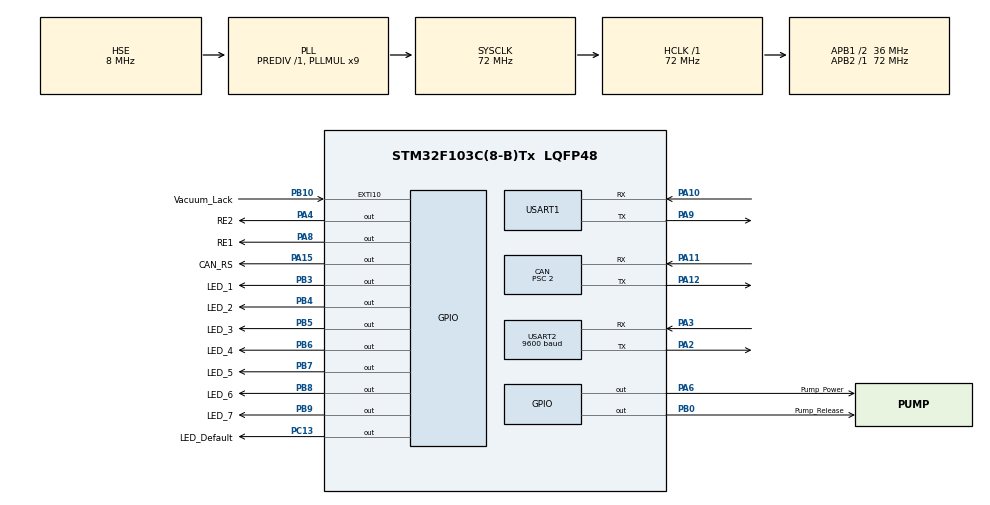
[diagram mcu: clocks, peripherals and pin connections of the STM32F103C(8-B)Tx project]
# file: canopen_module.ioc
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CAN.BS1=CAN_BS1_15TQ
CAN.BS2=CAN_BS2_2TQ
CAN.CalculateBaudRate=1000000
CAN.CalculateTimeBit=1000
CAN.CalculateTimeQuantum=55.55555555555556
CAN.NART=ENABLE
CAN.Prescaler=2
CAN.TXFP=ENABLE
IWDG.Prescaler=IWDG_PRESCALER_16
IWDG.Reload=2500-1
Mcu.Family=STM32F1
Mcu.Name=STM32F103C(8-B)Tx
Mcu.Package=LQFP48
NVIC.CAN1_RX1_IRQn=true\:0\:0\:false\:false\:true\:true\:true\:true
NVIC.CAN1_SCE_IRQn=true\:0\:0\:false\:false\:true\:true\:true\:true
NVIC.PriorityGroup=NVIC_PRIORITYGROUP_4
NVIC.TIM1_BRK_IRQn=true\:0\:0\:false\:false\:true\:true\:true\:true
NVIC.TIM1_CC_IRQn=true\:0\:0\:false\:false\:true\:true\:true\:true
NVIC.TIM1_TRG_COM_IRQn=true\:0\:0\:false\:false\:true\:true\:true\:true
NVIC.TIM1_UP_IRQn=true\:0\:0\:false\:false\:true\:true\:true\:true
NVIC.TIM2_IRQn=true\:0\:0\:false\:false\:true\:true\:true\:true
NVIC.TIM3_IRQn=true\:0\:0\:false\:false\:true\:true\:true\:true
NVIC.TIM4_IRQn=true\:0\:0\:false\:false\:true\:true\:true\:true
NVIC.USART2_IRQn=true\:0\:0\:false\:false\:true\:true\:true\:true
NVIC.USB_HP_CAN1_TX_IRQn=true\:0\:0\:false\:false\:true\:true\:true\:true
NVIC.USB_LP_CAN1_RX0_IRQn=true\:0\:0\:false\:false\:true\:true\:true\:true
PA10.Mode=Asynchronous
PA10.Signal=USART1_RX
PA11.Mode=CAN_Activate
PA11.Signal=CAN_RX
PA12.Mode=CAN_Activate
PA12.Signal=CAN_TX
PA13.Mode=Serial_Wire
PA13.Signal=SYS_JTMS-SWDIO
PA14.Mode=Serial_Wire
PA14.Signal=SYS_JTCK-SWCLK
PA15.GPIO_Label=CAN_RS
PA15.Signal=GPIO_Output
PA2.Mode=Asynchronous
PA2.Signal=USART2_TX
PA3.Mode=Asynchronous
PA3.Signal=USART2_RX
PA4.GPIO_Label=RE2
PA4.GPIO_Speed=GPIO_SPEED_FREQ_HIGH
PA4.Signal=GPIO_Output
PA6.GPIO_Label=Pump_Power
PA6.PinState=GPIO_PIN_RESET
PA6.Signal=GPIO_Output
PA8.GPIO_Label=RE1
PA8.GPIO_Speed=GPIO_SPEED_FREQ_HIGH
PA8.Signal=GPIO_Output
PA9.Mode=Asynchronous
PA9.Signal=USART1_TX
PB0.GPIO_Label=Pump_Release
PB0.PinState=GPIO_PIN_SET
PB0.Signal=GPIO_Output
PB10.GPIO_Label=Vacuum_Lack
PB10.GPIO_ModeDefaultEXTI=GPIO_MODE_IT_FALLING
PB10.GPIO_PuPd=GPIO_PULLUP
PB10.Signal=GPXTI10
PB3.GPIO_Label=LED_1
PB3.PinState=GPIO_PIN_SET
PB3.Signal=GPIO_Output
PB4.GPIO_Label=LED_2
PB4.PinState=GPIO_PIN_SET
PB4.Signal=GPIO_Output
PB5.GPIO_Label=LED_3
PB5.PinState=GPIO_PIN_SET
PB5.Signal=GPIO_Output
PB6.GPIO_Label=LED_4
PB6.PinState=GPIO_PIN_SET
PB6.Signal=GPIO_Output
PB7.GPIO_Label=LED_5
PB7.PinState=GPIO_PIN_SET
PB7.Signal=GPIO_Output
PB8.GPIO_Label=LED_6
PB8.PinState=GPIO_PIN_SET
PB8.Signal=GPIO_Output
PB9.GPIO_Label=LED_7
PB9.PinState=GPIO_PIN_SET
PB9.Signal=GPIO_Output
PC13-TAMPER-RTC.GPIO_Label=LED_Default
PC13-TAMPER-RTC.PinState=GPIO_PIN_SET
PC13-TAMPER-RTC.Signal=GPIO_Output
PD0-OSC_IN.Mode=HSE-External-Oscillator
PD0-OSC_IN.Signal=RCC_OSC_IN
PD1-OSC_OUT.Mode=HSE-External-Oscillator
PD1-OSC_OUT.Signal=RCC_OSC_OUT
ProjectManager.HeapSize=0x200
ProjectManager.StackSize=0x400
ProjectManager.TargetToolchain=STM32CubeIDE
RCC.AHBFreq_Value=72000000
RCC.APB1CLKDivider=RCC_HCLK_DIV2
RCC.APB1Freq_Value=36000000
RCC.APB1TimFreq_Value=72000000
RCC.APB2Freq_Value=72000000
RCC.APB2TimFreq_Value=72000000
RCC.HCLKFreq_Value=72000000
RCC.PLLMUL=RCC_PLL_MUL9
RCC.PLLSourceVirtual=RCC_PLLSOURCE_HSE
RCC.SYSCLKFreq_VALUE=72000000
RCC.SYSCLKSource=RCC_SYSCLKSOURCE_PLLCLK
RCC.USBFreq_Value=72000000
TIM1.Period=5000
TIM1.Prescaler=7200-1
TIM2.Period=5000
TIM2.Prescaler=7200-1
TIM3.Period=500
TIM3.Prescaler=7200-1
TIM4.Period=1000
TIM4.Prescaler=72-1
USART1.VirtualMode=VM_ASYNC
USART2.BaudRate=9600
USART2.VirtualMode=VM_ASYNC
VP_IWDG_VS_IWDG.Mode=IWDG_Activate
VP_TIM1_VS_ClockSourceINT.Mode=Internal
VP_TIM2_VS_ClockSourceINT.Mode=Internal
VP_TIM3_VS_ClockSourceINT.Mode=Internal
VP_TIM4_VS_ClockSourceINT.Mode=Internal
board=custom

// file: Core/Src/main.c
/* USER CODE BEGIN Header */
/**
 ******************************************************************************
 * @file           : main.c
 * @brief          : Main program body
 ******************************************************************************
 * @attention
 *
 * Copyright (c) 2025 STMicroelectronics.
 * All rights reserved.
 *
 * This software is licensed under terms that can be found in the LICENSE file
 * in the root directory of this software component.
 * If no LICENSE file comes with this software, it is provided AS-IS.
 *
 ******************************************************************************
 */
/* USER CODE END Header */
#include "main.h"
#include "can.h"
#include "iwdg.h"
#include "tim.h"
#include "usart.h"
#include "gpio.h"

/* USER CODE BEGIN Includes */

#include "CO_app_STM32.h"
#include "OD.h"

#include "mmodbus.h"

/* USER CODE END Includes */

/* USER CODE BEGIN PV */

const uint8_t NODE_ID = 0x55;
const uint16_t RUNNING_ADDR = 0x6100;

const uint16_t MODBUS_TIMEOUT = 50;

const uint8_t ULTRASONIC_ADDR = 0x01;
const uint16_t ULTRASONIC_REG_START_ADDR = 0x0000;
const uint16_t ULTRASONIC_BUFF_SIZE = 3;

const uint8_t CLIP_ADDR = 0x07;
const uint16_t CLIP_INIT_ADDR = 0x0100;
const uint16_t CLIP_FORCE_ADDR = 0x0101;
const uint16_t CLIP_POSITION_ADDR = 0x0103;
const uint16_t CLIP_FB_REG_START_ADDR = 0x0200;
const uint16_t CLIP_FB_BUFF_SIZE = 3;

const uint8_t VACUUM_ADDR = 0x12;
const uint16_t VACUUM_REG_START_ADDR = 0x0001;
const uint16_t VACUUM_BUFF_SIZE = 1;

const uint16_t VACUUM_REG_CONFIG_ADDR = 0x0013;
const uint16_t VACUUM_CONFIG_BUFF_SIZE = 3;

const uint16_t VACUUM_REG_RESET_ADDR = 0x0020;

const uint16_t VACUUM_CONFIG_PERIOD = 5; // 5 seconds
const uint16_t WATCHDOG_PER_SEC = 2;

CANopenNodeSTM32 canOpenNodeSTM32;

uint16_t ultrasonic_buff[3] = { 0, 0, 0 };

uint8_t clip_init_buff[1] = { 0 };
uint16_t clip_position_buff[1] = { 0 };
uint16_t clip_force_buff[1] = { 0 };
uint16_t clip_fb_buff[3] = { 0, 0, 0 };

bool clip_init_diff = false;
bool clip_position_diff = false;
bool clip_force_diff = false;

uint8_t prev_clip_init = 0;
uint16_t prev_clip_position = 0;
uint16_t prev_clip_force = 0;

uint8_t prev_ultrasonic_enable = 0;
uint8_t prev_clip_enable = 0;

uint16_t vacuum_buff[1] = { 0 };

uint16_t vacuum_config_buff[3] = { 0, 0, 0 };

/* USER CODE END PV */

void SystemClock_Config(void);
/* USER CODE BEGIN PFP */

void canopen_process(void);

void ultrasonic_data_process(void);

void clip_data_process(void);
void clip_control_process(void);

void write_clip_u8(uint16_t od_addr, uint16_t modbus_addr);
void write_clip_u16(uint16_t od_addr, uint16_t modbus_addr);

void clip_u8_diff_validation(uint16_t od_addr, bool* diff, uint8_t* prev);
void clip_u16_diff_validation(uint16_t od_addr, bool* diff, uint16_t* prev);

void vacuum_data_process(void);
void vacuum_config_process(void);

void pump_ctrl(uint16_t index, GPIO_TypeDef *port, uint16_t pin);
void pump_state(uint16_t index, GPIO_TypeDef *port, uint16_t pin);

bool enable_validation(uint16_t od_addr);

void show_err_led(void);

void htim1_cb();
void htim2_cb();
void htim3_cb();
void htim4_cb();

/* USER CODE END PFP */

int main(void)
{

  /* MCU Configuration--------------------------------------------------------*/

  /* Reset of all peripherals, Initializes the Flash interface and the Systick. */
  HAL_Init();

  /* Configure the system clock */
  SystemClock_Config();

  /* Initialize all configured peripherals */
  MX_GPIO_Init();
  MX_TIM1_Init();
  MX_USART2_UART_Init();
  MX_TIM2_Init();
  MX_TIM3_Init();
  MX_TIM4_Init();
  MX_CAN_Init();
  MX_IWDG_Init();
  MX_USART1_UART_Init();
  /* USER CODE BEGIN 2 */

	HAL_TIM_Base_Start_IT(&htim1);

	for (uint8_t i = 0; i < 14; i++)
	{
		HAL_GPIO_TogglePin(LED_Default_GPIO_Port, LED_Default_Pin);
		HAL_Delay(200);
	}

	canOpenNodeSTM32.CANHandle = &hcan;
	canOpenNodeSTM32.HWInitFunction = MX_CAN_Init;
	canOpenNodeSTM32.timerHandle = &htim4;
	canOpenNodeSTM32.desiredNodeID = NODE_ID;
	canOpenNodeSTM32.baudrate = 1000;
	canopen_app_init(&canOpenNodeSTM32);

	mmodbus_init(MODBUS_TIMEOUT);
	mmodbus_set32bitOrder(MModBus_32bitOrder_CDAB);

	HAL_TIM_Base_Start_IT(&htim2);
	HAL_TIM_Base_Start_IT(&htim3);
	HAL_TIM_Base_Start_IT(&htim4);

  /* USER CODE END 2 */

  /* Infinite loop */
  /* USER CODE BEGIN WHILE */
	while (1)
	{
		canopen_process();

		ultrasonic_data_process();

		vacuum_data_process();
		vacuum_config_process();

		if (enable_validation(0x603F))
		{
			clip_data_process();
			clip_control_process();
		}

    /* USER CODE END WHILE */

	}
}

void SystemClock_Config(void)
{
  RCC_OscInitTypeDef RCC_OscInitStruct = {0};
  RCC_ClkInitTypeDef RCC_ClkInitStruct = {0};

  /** Initializes the RCC Oscillators according to the specified parameters
  * in the RCC_OscInitTypeDef structure.
  */
  RCC_OscInitStruct.OscillatorType = RCC_OSCILLATORTYPE_LSI|RCC_OSCILLATORTYPE_HSE;
  RCC_OscInitStruct.HSEState = RCC_HSE_ON;
  RCC_OscInitStruct.HSEPredivValue = RCC_HSE_PREDIV_DIV1;
  RCC_OscInitStruct.HSIState = RCC_HSI_ON;
  RCC_OscInitStruct.LSIState = RCC_LSI_ON;
  RCC_OscInitStruct.PLL.PLLState = RCC_PLL_ON;
  RCC_OscInitStruct.PLL.PLLSource = RCC_PLLSOURCE_HSE;
  RCC_OscInitStruct.PLL.PLLMUL = RCC_PLL_MUL9;
  if (HAL_RCC_OscConfig(&RCC_OscInitStruct) != HAL_OK)
  {
    Error_Handler();
  }

  /** Initializes the CPU, AHB and APB buses clocks
  */
  RCC_ClkInitStruct.ClockType = RCC_CLOCKTYPE_HCLK|RCC_CLOCKTYPE_SYSCLK
                              |RCC_CLOCKTYPE_PCLK1|RCC_CLOCKTYPE_PCLK2;
  RCC_ClkInitStruct.SYSCLKSource = RCC_SYSCLKSOURCE_PLLCLK;
  RCC_ClkInitStruct.AHBCLKDivider = RCC_SYSCLK_DIV1;
  RCC_ClkInitStruct.APB1CLKDivider = RCC_HCLK_DIV2;
  RCC_ClkInitStruct.APB2CLKDivider = RCC_HCLK_DIV1;

  if (HAL_RCC_ClockConfig(&RCC_ClkInitStruct, FLASH_LATENCY_2) != HAL_OK)
  {
    Error_Handler();
  }
}

/* USER CODE BEGIN 4 */

void canopen_process(void)
{
	HAL_GPIO_WritePin(LED_1_GPIO_Port, LED_1_Pin, !canOpenNodeSTM32.outStatusLEDGreen);
	HAL_GPIO_WritePin(LED_2_GPIO_Port, LED_2_Pin, !canOpenNodeSTM32.outStatusLEDRed);

	canopen_app_process();
}

void ultrasonic_data_process(void)
{
	uint8_t ultrasonic_enable = 0;
	if (OD_get_u8(OD_find(OD, 0x601F), 0x00, &ultrasonic_enable, false) != ODR_OK)
	{
		show_err_led();
	}

	if (prev_ultrasonic_enable && !ultrasonic_enable)
	{
		for (uint8_t i = 0; i < ULTRASONIC_BUFF_SIZE; i++)
		{
			ultrasonic_buff[i] = 0x0;
		}

		for (uint8_t i = 0; i < ULTRASONIC_BUFF_SIZE; i++)
		{
			if (OD_set_u16(OD_find(OD, 0x6010 + i), 0x00, ultrasonic_buff[i], false) != ODR_OK)
				show_err_led();
		}
	}

	prev_ultrasonic_enable = ultrasonic_enable;

	if (!ultrasonic_enable)
		return;

	HAL_GPIO_WritePin(LED_3_GPIO_Port, LED_3_Pin, GPIO_PIN_RESET);

	if (!mmodbus_readInputRegisters16i(ULTRASONIC_ADDR, ULTRASONIC_REG_START_ADDR, ULTRASONIC_BUFF_SIZE, (uint16_t*) &ultrasonic_buff))
	{
		for (uint8_t i = 0; i < ULTRASONIC_BUFF_SIZE; i++)
		{
			ultrasonic_buff[i] = 0xFFFF;
		}
		show_err_led();
	}

	for (uint8_t i = 0; i < ULTRASONIC_BUFF_SIZE; i++)
	{
		if (OD_set_u16(OD_find(OD, 0x6010 + i), 0x00, ultrasonic_buff[i], false) != ODR_OK)
			show_err_led();
	}

	HAL_Delay(5);
	HAL_GPIO_WritePin(LED_3_GPIO_Port, LED_3_Pin, GPIO_PIN_SET);
}

void clip_data_process(void)
{
	HAL_GPIO_WritePin(LED_6_GPIO_Port, LED_6_Pin, GPIO_PIN_RESET);

	if (!mmodbus_readHoldingRegisters16i(CLIP_ADDR, CLIP_POSITION_ADDR, 1, (uint16_t*) &clip_position_buff))
	{
		clip_position_buff[0] = 0xFFFF;
		show_err_led();
	}

	HAL_Delay(1);

	if (!mmodbus_readHoldingRegisters16i(CLIP_ADDR, CLIP_FORCE_ADDR, 1, (uint16_t*) &clip_force_buff))
	{
		clip_force_buff[0] = 0xFFFF;
		show_err_led();
	}

	HAL_Delay(1);

	if (!mmodbus_readHoldingRegisters16i(CLIP_ADDR, CLIP_FB_REG_START_ADDR, CLIP_FB_BUFF_SIZE, (uint16_t*) &clip_fb_buff))
	{
		for (uint8_t i = 0; i < CLIP_FB_BUFF_SIZE; i++)
		{
			clip_fb_buff[i] = 0xFFFF;
		}
		show_err_led();
	}

	HAL_Delay(3);
	HAL_GPIO_WritePin(LED_6_GPIO_Port, LED_6_Pin, GPIO_PIN_SET);
}

void clip_control_process(void)
{
	HAL_GPIO_WritePin(LED_6_GPIO_Port, LED_6_Pin, GPIO_PIN_RESET);

	if (clip_init_diff)
	{
		write_clip_u8(0x6030, CLIP_INIT_ADDR);
		clip_init_diff = false;
	}

	if (clip_position_diff)
	{
		write_clip_u16(0x6031, CLIP_POSITION_ADDR);
		clip_position_diff = false;
	}

	if (clip_force_diff)
	{
		write_clip_u16(0x6032, CLIP_FORCE_ADDR);
		clip_force_diff = false;
	}

	HAL_Delay(2);
	HAL_GPIO_WritePin(LED_6_GPIO_Port, LED_6_Pin, GPIO_PIN_SET);
}

void write_clip_u8(uint16_t od_addr, uint16_t modbus_addr)
{
	uint8_t tmp = 0;
	if (OD_get_u8(OD_find(OD, od_addr), 0x00, &tmp, false) != ODR_OK)
	{
		show_err_led();
	}

	uint16_t data = tmp;

	if (!mmodbus_writeHoldingRegisters16i(CLIP_ADDR, modbus_addr, 1, (uint16_t*) &data))
	{
		show_err_led();
	}

	HAL_Delay(1);
}

void write_clip_u16(uint16_t od_addr, uint16_t modbus_addr)
{
	uint16_t tmp = 0;
	if (OD_get_u16(OD_find(OD, od_addr), 0x00, &tmp, false) != ODR_OK)
	{
		show_err_led();
	}

	uint16_t data = tmp;

	if (!mmodbus_writeHoldingRegisters16i(CLIP_ADDR, modbus_addr, 1, (uint16_t*) &data))
	{
		show_err_led();
	}

	HAL_Delay(1);
}

void vacuum_data_process(void)
{
	HAL_GPIO_WritePin(LED_4_GPIO_Port, LED_4_Pin, GPIO_PIN_RESET);

	if (!mmodbus_readHoldingRegisters16i(VACUUM_ADDR, VACUUM_REG_START_ADDR, VACUUM_BUFF_SIZE, (uint16_t*) &vacuum_buff))
	{
		for (uint8_t i = 0; i < VACUUM_BUFF_SIZE; i++)
		{
			vacuum_buff[i] = 0xFFFF;
		}
		show_err_led();
	}

	HAL_Delay(5);
	HAL_GPIO_WritePin(LED_4_GPIO_Port, LED_4_Pin, GPIO_PIN_SET);
}

void vacuum_config_process(void)
{
	uint32_t running;
	if (OD_get_u32(OD_find(OD, RUNNING_ADDR), 0x00, &running, false) != ODR_OK)
	{
		show_err_led();
	}
	if (running % (VACUUM_CONFIG_PERIOD * WATCHDOG_PER_SEC) != 0)
		return;

	HAL_GPIO_WritePin(LED_5_GPIO_Port, LED_5_Pin, GPIO_PIN_RESET);

	if (!mmodbus_readHoldingRegisters16i(VACUUM_ADDR, VACUUM_REG_CONFIG_ADDR, VACUUM_CONFIG_BUFF_SIZE, (uint16_t*) &vacuum_config_buff))
	{
		show_err_led();
	}

	HAL_Delay(1);

	for (uint8_t i = 0; i < VACUUM_CONFIG_BUFF_SIZE; i++)
	{
		uint8_t data = 0;
		if (OD_get_u8(OD_find(OD, 0x6008 + i), 0x00, &data, false) != ODR_OK)
		{
			show_err_led();
			continue;
		}
		if (data == vacuum_config_buff[i])
		{
			continue;
		}

		uint16_t large_data = data;

		if (!mmodbus_writeHoldingRegisters16i(VACUUM_ADDR, VACUUM_REG_CONFIG_ADDR + i, 1, (uint16_t*) &large_data))
		{
			show_err_led();
		}

		HAL_Delay(1);
	}

	uint8_t reset = 0;
	if (OD_get_u8(OD_find(OD, 0x600B), 0x00, &reset, false) != ODR_OK)
	{
		show_err_led();
	}

	if (reset)
	{
		const uint8_t VACUUM_RESET_BUFF_SIZE = 1;
		uint16_t vacuum_reset_buff[1] = { 1 };

		if (!mmodbus_writeHoldingRegisters16i(VACUUM_ADDR, VACUUM_REG_RESET_ADDR, VACUUM_RESET_BUFF_SIZE, (uint16_t*) &vacuum_reset_buff))
		{
			show_err_led();
		}

		uint8_t clear = 0;
		if (OD_set_u8(OD_find(OD, 0x600A), 0x00, (uint8_t) clear, false) != ODR_OK)
		{
			show_err_led();
		}

		HAL_Delay(1);
	}

	HAL_Delay(2);
	HAL_GPIO_WritePin(LED_5_GPIO_Port, LED_5_Pin, GPIO_PIN_SET);
}

void pump_ctrl(uint16_t index, GPIO_TypeDef *port, uint16_t pin)
{
	uint8_t ctrl = 0;

	if (OD_get_u8(OD_find(OD, index), 0x00, &ctrl, false) != ODR_OK)
	{
		show_err_led();
	}

	switch (index)
	{
	case 0x6020:
		HAL_GPIO_WritePin(port, pin, ctrl == 0x0 ? GPIO_PIN_RESET : GPIO_PIN_SET);
		break;
	case 0x6021:
		HAL_GPIO_WritePin(port, pin, ctrl == 0x0 ? GPIO_PIN_SET : GPIO_PIN_RESET);
		break;
	}
}

void pump_state(uint16_t index, GPIO_TypeDef *port, uint16_t pin)
{
	GPIO_PinState state = !HAL_GPIO_ReadPin(port, pin);

	switch (index)
	{
	case 0x6024:
		state = !state;
		break;
	case 0x6025:
		break;
	}

	if (OD_set_u8(OD_find(OD, index), 0x00, (uint8_t) state, false) != ODR_OK)
	{
		show_err_led();
	}
}

void show_err_led(void)
{
	HAL_GPIO_WritePin(LED_Default_GPIO_Port, LED_Default_Pin, GPIO_PIN_RESET);
}

void HAL_TIM_PeriodElapsedCallback(TIM_HandleTypeDef *htim)
{
	if (htim == (&htim1))
	{
		htim1_cb();
	}
	else if (htim == (&htim2))
	{
		htim2_cb();
	}
	else if (htim == (&htim3))
	{
		htim3_cb();
	}
	else if (htim == canopenNodeSTM32->timerHandle)
	{
		htim4_cb();
	}
}

void htim1_cb(void)
{
//	HAL_GPIO_TogglePin(LED_Default_GPIO_Port, LED_Default_Pin);
	HAL_IWDG_Refresh(&hiwdg);

	uint32_t val;
	if (OD_get_u32(OD_find(OD, RUNNING_ADDR), 0x00, &val, false) != ODR_OK)
	{
		show_err_led();
	}

	val++;
	if (OD_set_u32(OD_find(OD, RUNNING_ADDR), 0x00, val, false) != ODR_OK)
	{
		show_err_led();
	}
}

void htim2_cb(void)
{
	uint8_t restart = 0;

	if (OD_get_u8(OD_find(OD, 0x6110), 0x00, &restart, false) != ODR_OK)
	{
		show_err_led();
	}

	if (restart)
	{
		while (1)
		{
			// trigger watchdog to restart MCU
			show_err_led();
			HAL_Delay(1000);
		}
	}
}

void htim3_cb(void)
{
	if (OD_set_i16(OD_find(OD, 0x6000), 0x00, (int16_t) vacuum_buff[0], false) != ODR_OK)
		show_err_led();

	pump_ctrl(0x6020, Pump_Power_GPIO_Port, Pump_Power_Pin);
	pump_ctrl(0x6021, Pump_Release_GPIO_Port, Pump_Release_Pin);

	pump_state(0x6024, Pump_Power_GPIO_Port, Pump_Power_Pin);
	pump_state(0x6025, Pump_Release_GPIO_Port, Pump_Release_Pin);

	if (OD_set_u8(OD_find(OD, 0x6035), 0x00, (uint8_t) clip_fb_buff[0], false) != ODR_OK)
		show_err_led();

	if (OD_set_u8(OD_find(OD, 0x6036), 0x00, (uint8_t) clip_fb_buff[1], false) != ODR_OK)
		show_err_led();

	if (OD_set_u16(OD_find(OD, 0x6037), 0x00, clip_fb_buff[2], false) != ODR_OK)
		show_err_led();

	clip_u8_diff_validation(0x6030, &clip_init_diff, &prev_clip_init);
	clip_u16_diff_validation(0x6031, &clip_position_diff, &prev_clip_position);
	clip_u16_diff_validation(0x6032, &clip_force_diff, &prev_clip_force);
}

void clip_u8_diff_validation(uint16_t od_addr, bool* diff, uint8_t* prev)
{
	uint8_t val = 0;

	if (OD_get_u8(OD_find(OD, od_addr), 0x00, &val, false) != ODR_OK)
	{
		show_err_led();
	}

	if (val != *prev)
	{
		*diff = true;
	}

	*prev = val;
}

void clip_u16_diff_validation(uint16_t od_addr, bool* diff, uint16_t* prev)
{
	uint16_t val = 0;

	if (OD_get_u16(OD_find(OD, od_addr), 0x00, &val, false) != ODR_OK)
	{
		show_err_led();
	}

	if (val != *prev)
	{
		*diff = true;
	}

	*prev = val;
}

bool enable_validation(uint16_t od_addr)
{
	uint8_t enable = 0;

	if (OD_get_u8(OD_find(OD, od_addr), 0x00, &enable, false) != ODR_OK)
	{
		show_err_led();
	}

	if (prev_clip_enable && !enable)
	{
		clip_init_buff[0] = 0x0;
		clip_position_buff[0] = 0x0;
		clip_force_buff[0] = 0x0;
	}

	prev_clip_enable = enable;

	return enable ? true : false;
}

void htim4_cb(void)
{
	canopen_app_interrupt();
}

/* USER CODE END 4 */

void Error_Handler(void)
{
	__disable_irq();
	while (1)
	{
	}
}
